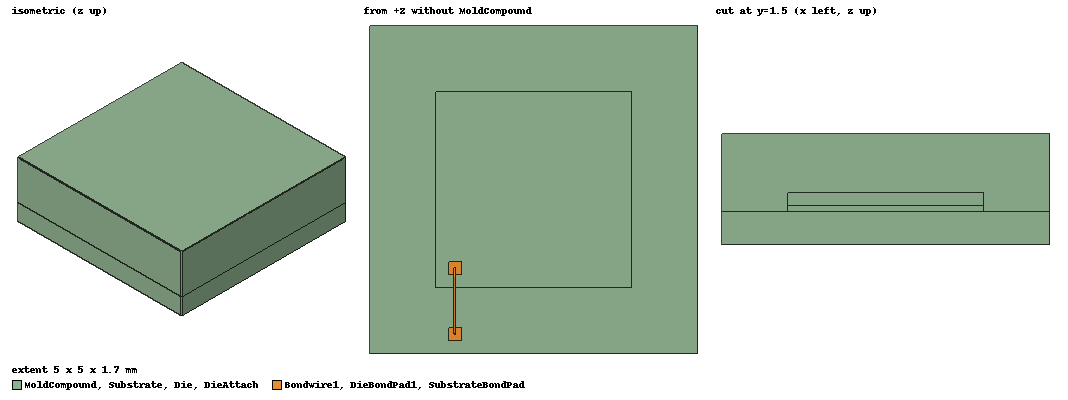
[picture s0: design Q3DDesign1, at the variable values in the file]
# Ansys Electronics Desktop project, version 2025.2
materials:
  Al-Extruded
  air: permittivity=1.0006 permeability=1.0000004
  vacuum: permittivity=1
  copper: permeability=0.999991 conductivity=58000000
  silicon: permittivity=11.9
  lead: permeability=0.999983 conductivity=5000000
  FR4_epoxy: permittivity=4.4 dielectric_loss_tangent=0.02
  modified_epoxy: permittivity=4.2 dielectric_loss_tangent=0.02
  gold: permeability=0.99996 conductivity=41000000
  epoxy_Kevlar_xy: permittivity=3.6
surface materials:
  Steel-oxidised-surface

design Q3DDesign1 (Q3D Extractor, model units mm)
options: SParamCalcMethod=EqTransLine Calculate_Lossy_Dielectrics
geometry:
  Die [silicon] = rectangle(corner=(0mm, 0mm, 0mm), x_size=3mm, y_size=3mm)
  Die.thicken(0.2mm)
  Substrate [FR4_epoxy] = rectangle(corner=(-1mm, -1mm, -0.1mm), x_size=5mm, y_size=5mm)
  Substrate.thicken(-0.5mm)
  DieAttach [modified_epoxy] = rectangle(corner=(0mm, 0mm, 0mm), x_size=3mm, y_size=3mm)
  DieAttach.thicken(-0.1mm)
  DieBondPad [copper] = rectangle(corner=(0.2mm, 0.2mm, 0.2mm), x_size=0.2mm, y_size=0.2mm)
  DieBondPad.thicken(0.005mm)
  SubstrateBondPad [copper] = rectangle(corner=(0.2mm, -0.8mm, -0.1mm), x_size=0.2mm, y_size=0.2mm)
  SubstrateBondPad.thicken(0.005mm)
  Bondwire1 [gold] = bondwire(WireType=JEDEC_4Points WireDiameter=0.025mm NumSides=6 XPadPos=0.3mm YPadPos=0.3mm ZPadPos=0.205mm XDir=0mm YDir=-1mm ZDir=0mm Distance=1mm h1=0.2mm h2=0.3mm alpha=80deg beta=0 WhichAxis=Z)
  DieBondPad1 [copper] = rectangle(corner=(0.2mm, 0.2mm, 0.2mm), x_size=0.2mm, y_size=0.2mm)
  DieBondPad1.thicken(0.005mm)
  MoldCompound [epoxy_Kevlar_xy] = rectangle(corner=(-1mm, -1mm, -0.1mm), x_size=5mm, y_size=5mm)
  MoldCompound.thicken(1.2mm)
